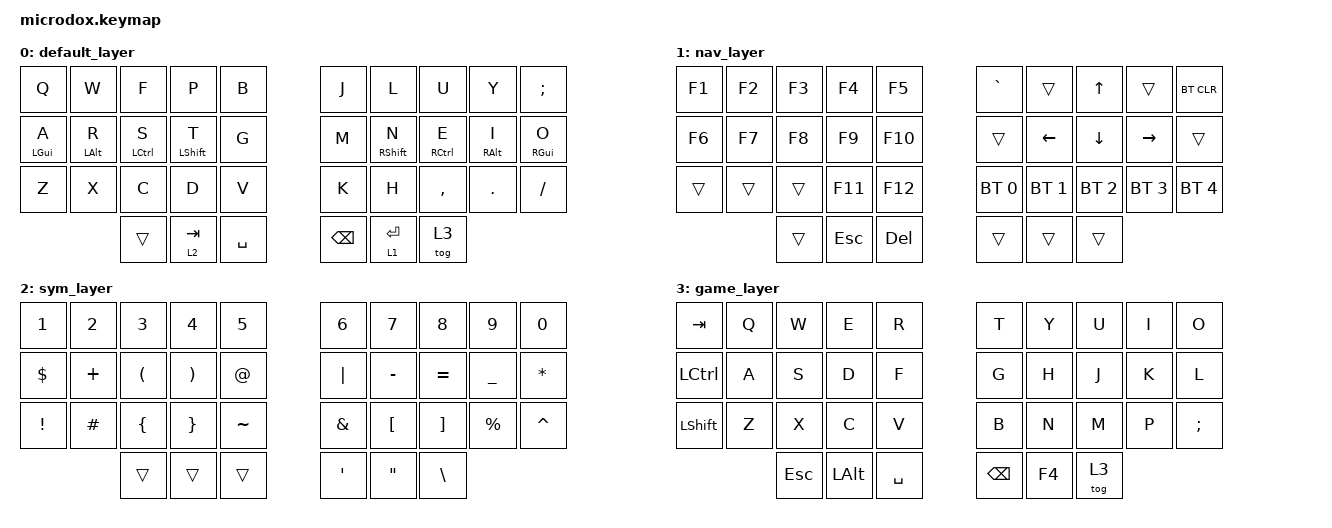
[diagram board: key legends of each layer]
/*
 * Copyright (c) 2020 The ZMK Contributors
 *
 * SPDX-License-Identifier: MIT
 */

#include <behaviors.dtsi>
#include <dt-bindings/zmk/keys.h>
#include <dt-bindings/zmk/bt.h>

/ {
        keymap {
                compatible = "zmk,keymap";

                default_layer {
// -----------------------------------------------------------------------------------------
// |  Q  |  W  |  F  |  P  |  B  |   |  J   |  L   |  U  |  Y  |  ;  |
// |  A  |  R  |  S  |  T  |  G  |   |  M   |  N   |  E  |  I  |  O  |
// |  Z  |  X  |  C  |  D  |  V  |   |  K   |  H   |  ,  |  .  |  /  |
//             |     | TAB | SPC |   | BKSP | ENTR | L3  |
                        bindings = <
   &kp Q      &kp W      &kp F       &kp P       &kp B      &kp J    &kp L       &kp U       &kp Y      &kp SEMI
   &mt LGUI A &mt LALT R &mt LCTRL S &mt LSHFT T &kp G      &kp M    &mt RSHFT N &mt RCTRL E &mt RALT I &mt RGUI O
   &kp Z      &kp X      &kp C       &kp D       &kp V      &kp K    &kp H       &kp COMMA   &kp DOT    &kp FSLH
                         &trans      &lt 2 TAB   &kp SPACE  &kp BSPC &lt 1 ENTER &tog 3
                        >;
                };

                 nav_layer {
// -----------------------------------------------------------------------------------------
// | F1 | F2 | F3 | F4  | F5  |  |  `  |      |  UP  |      | BTCLR |
// | F6 | F7 | F8 | F9  | F10 |  |     | LEFT | DOWN | RGHT |       |
// |    |    |    | F11 | F12 |  | BT0 | BT1  | BT2  | BT3  |  BT4  |
//           |    | ESC | DEL |  |     |      |      |
                        bindings = <
   &kp F1 &kp F2 &kp F3 &kp F4  &kp F5   &kp GRAVE    &trans       &kp UP       &trans       &bt BT_CLR
   &kp F6 &kp F7 &kp F8 &kp F9  &kp F10  &trans       &kp LEFT     &kp DOWN     &kp RIGHT    &trans
   &trans &trans &trans &kp F11 &kp F12  &bt BT_SEL 0 &bt BT_SEL 1 &bt BT_SEL 2 &bt BT_SEL 3 &bt BT_SEL 4
                 &trans &kp ESC &kp DEL  &trans       &trans       &trans
                        >;
                };

                sym_layer {
// -----------------------------------------------------------------------------------------
// | 1 | 2 | 3 | 4 | 5 |   |  6  | 7 | 8 | 9 | 0 |
// | $ | + | ( | ) | @ |   | "|" | - | = | _ | * |
// | ! | # | { | } | ~ |   |  &  | [ | ] | % | ^ |
//         |   |   |   |   |  '  | " | \ |
                        bindings = <
   &kp N1   &kp N2   &kp N3   &kp N4   &kp N5     &kp N6   &kp N7    &kp N8    &kp N9    &kp N0
   &kp DLLR &kp PLUS &kp LPAR &kp RPAR &kp AT     &kp PIPE &kp MINUS &kp EQUAL &kp UNDER &kp STAR
   &kp EXCL &kp HASH &kp LBRC &kp RBRC &kp TILDE  &kp AMPS &kp LBKT  &kp RBKT  &kp PRCNT &kp CARET
                     &trans   &trans   &trans     &kp APOS &kp DQT   &kp BSLH
                        >;
                };

                game_layer {
// -----------------------------------------------------------------------------------------
// | TAB  |  Q  |  W  |  E  |  R  |  |  T   | Y  |  U   |  I  |  O  |
// | CTRL |  A  |  S  |  D  |  F  |  |  G   | H  |  J   |  K  |  L  |
// | SHFT |  Z  |  X  |  C  |  V  |  |  B   | N  |  M   |  P  |  ;  |
//              | ESC | ALT | SPC |  | BKSP | F4 |  L3  |
                        bindings = <
   &kp TAB   &kp Q &kp W   &kp E    &kp R      &kp T    &kp Y  &kp U  &kp I &kp O
   &kp LCTRL &kp A &kp S   &kp D    &kp F      &kp G    &kp H  &kp J  &kp K &kp L
   &kp LSHFT &kp Z &kp X   &kp C    &kp V      &kp B    &kp N  &kp M  &kp P &kp SEMI
                   &kp ESC &kp LALT &kp SPACE  &kp BSPC &kp F4 &tog 3
                        >;
                };
        };
};
